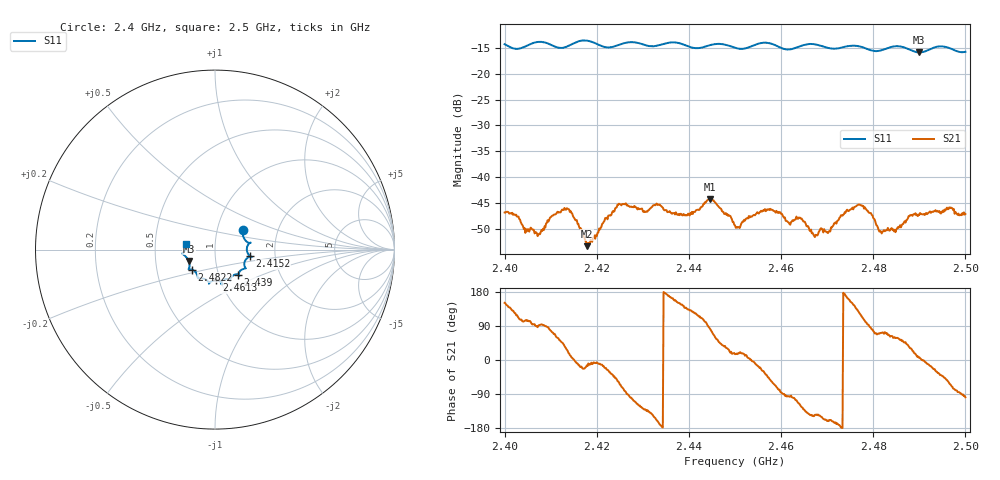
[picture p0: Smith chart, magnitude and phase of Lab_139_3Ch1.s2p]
# Hz S RI R 50
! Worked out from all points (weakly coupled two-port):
!   601 points, 2.4 GHz to 2.5 GHz, reference 50 ohm
!   highest |S21| = -44.18 dB at 2.4445 GHz (marker M1); lowest = -53.3 dB at 2.4178 GHz (marker M2)
!   lowest |S11| = -15.9 dB at 2.49 GHz (marker M3), VSWR 1.38, Z = 36.9 - j4.85 ohm
!   |S11| at or under -10 dB: start of sweep to end of sweep
!   S12 and S22 are empty: the file has one direction only
!   S11 on the Smith chart (normalised r, x): 2.4 GHz: 1.33, +0.31; 2.4152 GHz: 1.48, -0.11; 2.439 GHz: 1.24, -0.36; 2.4613 GHz: 0.96, -0.34; 2.4822 GHz: 0.76, -0.17; 2.5 GHz: 0.72, +0.05
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2.4e9  0.1568 0.1115  -0.004 0.00222  0 0  0 0
2.407167e9  0.1985 0.0377  0.00016 0.0027  0 0  0 0
2.413e9  0.1787 -0.0102  0.00404 0.00303  0 0  0 0
2.415167e9  0.1942 -0.0365  0.004 -9.53e-05  0 0  0 0
2.416667e9  0.2036 -0.0422  0.003 -0.000927  0 0  0 0
2.417833e9  0.204 -0.0407  0.0021 -0.000527  0 0  0 0
2.424667e9  0.1645 -0.0923  0.00296 -0.00454  0 0  0 0
2.4305e9  0.1531 -0.1099  -0.003 -0.00352  0 0  0 0
2.433333e9  0.133 -0.1318  -0.00523 -0.00154  0 0  0 0
2.439e9  0.1285 -0.1392  -0.00324 0.00289  0 0  0 0
2.4445e9  0.0849 -0.1677  0.000642 0.00615  0 0  0 0
2.45e9  0.0689 -0.1639  0.00332 0.000915  0 0  0 0
2.4575e9  0.0397 -0.1927  0.00307 -0.00373  0 0  0 0
2.461333e9  0.00758 -0.1708  -0.000333 -0.00375  0 0  0 0
2.464167e9  -0.0281 -0.182  -0.002 -0.00354  0 0  0 0
2.466667e9  -0.0336 -0.1903  -0.00241 -0.00157  0 0  0 0
2.470167e9  -0.0448 -0.1713  -0.00271 -0.001  0 0  0 0
2.477e9  -0.0952 -0.1566  -0.00302 0.00454  0 0  0 0
2.482167e9  -0.1281 -0.1118  0.000931 0.00287  0 0  0 0
2.483333e9  -0.1392 -0.1103  0.00124 0.00287  0 0  0 0
2.49e9  -0.1466 -0.064  0.00428 0.00054  0 0  0 0
2.5e9  -0.1588 0.0335  -0.000648 -0.00437  0 0  0 0
